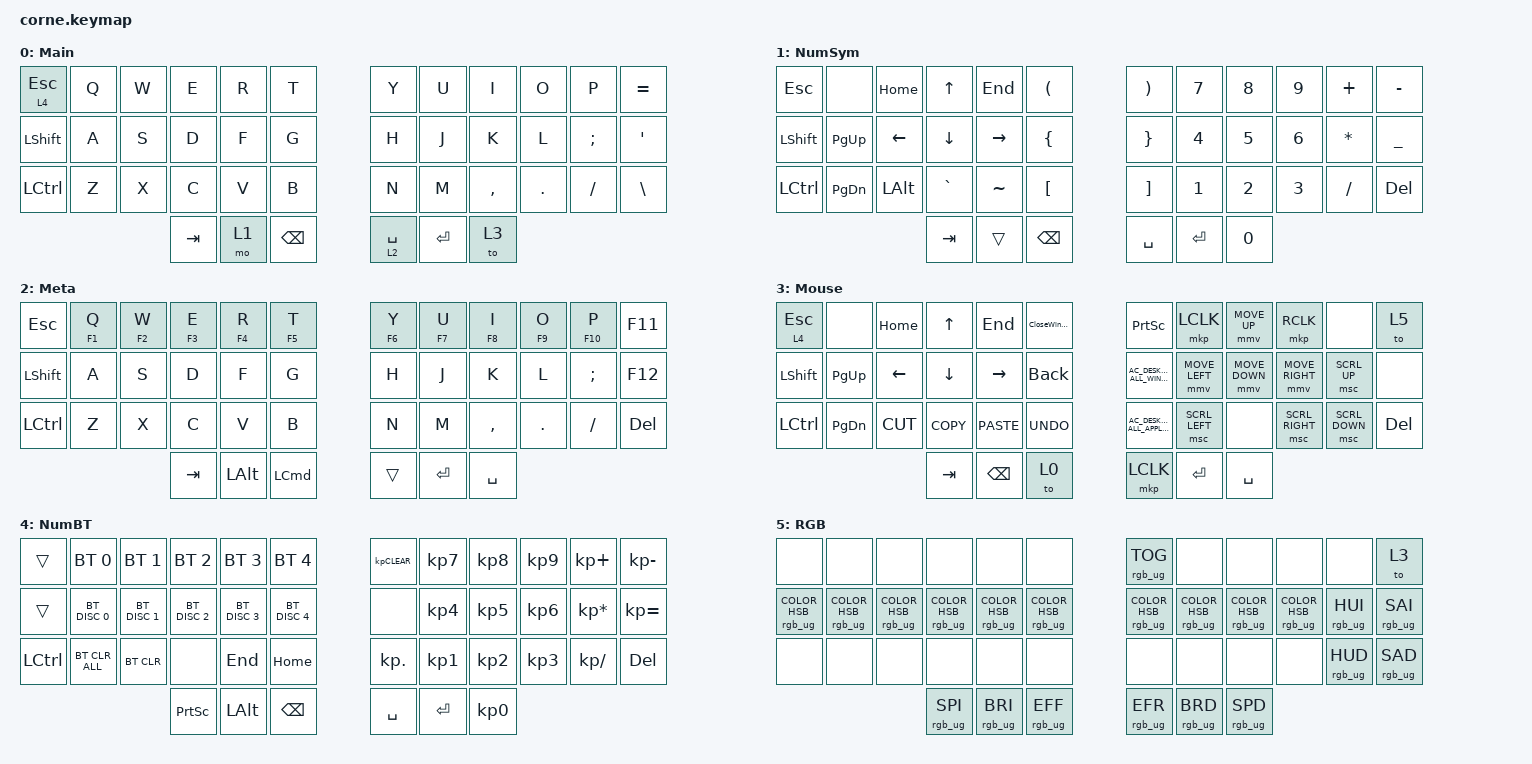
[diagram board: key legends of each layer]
/*
 * Copyright (c) 2020 The ZMK Contributors
 *
 * SPDX-License-Identifier: MIT
 */

#include <behaviors.dtsi>
#include <dt-bindings/zmk/bt.h>
#include <dt-bindings/zmk/keys.h>
#include <dt-bindings/zmk/pointing.h>
#include <dt-bindings/zmk/rgb.h>

/ {
    macros {
        CloseWindow: CloseWindow {
            compatible = "zmk,behavior-macro";
            #binding-cells = <0>;
            bindings = <&kp LA(F4)>;
            label = "CLOSEWINDOW";
        };

        Back: Back {
            compatible = "zmk,behavior-macro";
            #binding-cells = <0>;
            bindings = <&kp LA(LEFT_ARROW)>;
            label = "BACK";
        };

        Lock: Lock {
            compatible = "zmk,behavior-macro";
            #binding-cells = <0>;
            bindings = <&kp LC(LA(DELETE))>;
            label = "LOCK";
        };
    };

    keymap {
        compatible = "zmk,keymap";

        Main {
            // -----------------------------------------------------------------------------------------
            // |  TAB |  Q  |  W  |  E  |  R  |  T  |   |  Y  |  U   |  I  |  O  |  P  | BKSP |
            // | CTRL |  A  |  S  |  D  |  F  |  G  |   |  H  |  J   |  K  |  L  |  ;  |  '   |
            // | SHFT |  Z  |  X  |  C  |  V  |  B  |   |  N  |  M   |  ,  |  .  |  /  | ESC  |
            //                    | GUI | LWR | SPC |   | ENT | RSE  | ALT |

            display-name = "Main";
            bindings = <
&lt 4 ESC         &kp Q  &kp W  &kp E    &kp R  &kp T            &kp Y        &kp U      &kp I      &kp O    &kp P     &kp EQUAL
&kp LEFT_SHIFT    &kp A  &kp S  &kp D    &kp F  &kp G            &kp H        &kp J      &kp K      &kp L    &kp SEMI  &kp SQT
&kp LEFT_CONTROL  &kp Z  &kp X  &kp C    &kp V  &kp B            &kp N        &kp M      &kp COMMA  &kp DOT  &kp FSLH  &kp BACKSLASH
                                &kp TAB  &mo 1  &kp BACKSPACE    &lt 2 SPACE  &kp ENTER  &to 3
            >;
        };

        NumSym {
            // -----------------------------------------------------------------------------------------
            // |  TAB |  1  |  2  |  3  |  4  |  5  |   |  6  |  7  |  8  |  9  |  0  | BKSP |
            // | BTCLR| BT1 | BT2 | BT3 | BT4 | BT5 |   | LFT | DWN |  UP | RGT |     |      |
            // | SHFT |     |     |     |     |     |   |     |     |     |     |     |      |
            //                    | GUI |     | SPC |   | ENT |     | ALT |

            display-name = "NumSym";
            bindings = <
&kp ESC           &none          &kp HOME        &kp UP_ARROW    &kp END          &kp LEFT_PARENTHESIS    &kp RIGHT_PARENTHESIS  &kp NUMBER_7  &kp NUMBER_8  &kp NUMBER_9  &kp PLUS      &kp MINUS
&kp LEFT_SHIFT    &kp PAGE_UP    &kp LEFT_ARROW  &kp DOWN_ARROW  &kp RIGHT_ARROW  &kp LEFT_BRACE          &kp RIGHT_BRACE        &kp NUMBER_4  &kp NUMBER_5  &kp NUMBER_6  &kp ASTERISK  &kp UNDER
&kp LEFT_CONTROL  &kp PAGE_DOWN  &kp LEFT_ALT    &kp GRAVE       &kp TILDE        &kp LEFT_BRACKET        &kp RIGHT_BRACKET      &kp NUMBER_1  &kp NUMBER_2  &kp NUMBER_3  &kp SLASH     &kp DELETE
                                                 &kp TAB         &trans           &kp BACKSPACE           &kp SPACE              &kp ENTER     &kp NUMBER_0
            >;
        };

        Command {
            // -----------------------------------------------------------------------------------------
            // |  TAB |  !  |  @  |  #  |  $  |  %  |   |  ^  |  &  |  *  |  (  |  )  | BKSP |
            // | CTRL |     |     |     |     |     |   |  -  |  =  |  [  |  ]  |  \  |  `   |
            // | SHFT |     |     |     |     |     |   |  _  |  +  |  {  |  }  | "|" |  ~   |
            //                    | GUI |     | SPC |   | ENT |     | ALT |

            display-name = "Meta";
            bindings = <
&kp ESC           &mt F1 Q  &mt F2 W  &mt F3 E  &mt F4 R      &mt F5 T            &mt F6 Y  &mt F7 U   &mt F8 I   &mt F9 O    &mt F10 P      &kp F11
&kp LEFT_SHIFT    &kp A     &kp S     &kp D     &kp F         &kp G               &kp H     &kp J      &kp K      &kp L       &kp SEMICOLON  &kp F12
&kp LEFT_CONTROL  &kp Z     &kp X     &kp C     &kp V         &kp B               &kp N     &kp M      &kp COMMA  &kp PERIOD  &kp SLASH      &kp DELETE
                                      &kp TAB   &kp LEFT_ALT  &kp LEFT_COMMAND    &trans    &kp ENTER  &kp SPACE
            >;
        };

        Mouse {
            display-name = "Mouse";
            bindings = <
&lt 4 ESC         &none          &kp HOME        &kp UP_ARROW    &kp END          &CloseWindow    &kp PRINTSCREEN                         &mkp LCLK       &mmv MOVE_UP    &mkp RCLK        &none           &to 5
&kp LEFT_SHIFT    &kp PAGE_UP    &kp LEFT_ARROW  &kp DOWN_ARROW  &kp RIGHT_ARROW  &Back           &kp C_AC_DESKTOP_SHOW_ALL_WINDOWS       &mmv MOVE_LEFT  &mmv MOVE_DOWN  &mmv MOVE_RIGHT  &msc SCRL_UP    &none
&kp LEFT_CONTROL  &kp PAGE_DOWN  &kp K_CUT       &kp K_COPY      &kp K_PASTE      &kp K_UNDO      &kp C_AC_DESKTOP_SHOW_ALL_APPLICATIONS  &msc SCRL_LEFT  &none           &msc SCRL_RIGHT  &msc SCRL_DOWN  &kp DELETE
                                                 &kp TAB         &kp BACKSPACE    &to 0           &mkp LCLK                               &kp ENTER       &kp SPACE
            >;
        };

        NumpadBT {
            display-name = "NumBT";
            bindings = <
&trans            &bt BT_SEL 0    &bt BT_SEL 1   &bt BT_SEL 2     &bt BT_SEL 3   &bt BT_SEL 4     &kp KP_CLEAR  &kp KP_NUMBER_7  &kp KP_NUMBER_8  &kp KP_NUMBER_9  &kp KP_PLUS      &kp KP_MINUS
&trans            &bt BT_DISC 0   &bt BT_DISC 1  &bt BT_DISC 2    &bt BT_DISC 3  &bt BT_DISC 4    &none         &kp KP_NUMBER_4  &kp KP_NUMBER_5  &kp KP_NUMBER_6  &kp KP_MULTIPLY  &kp KP_EQUAL
&kp LEFT_CONTROL  &bt BT_CLR_ALL  &bt BT_CLR     &none            &kp END        &kp HOME         &kp KP_DOT    &kp KP_NUMBER_1  &kp KP_NUMBER_2  &kp KP_NUMBER_3  &kp KP_DIVIDE    &kp DEL
                                                 &kp PRINTSCREEN  &kp LEFT_ALT   &kp BACKSPACE    &kp SPACE     &kp ENTER        &kp KP_NUMBER_0
            >;
        };

        Light {
            display-name = "RGB";
            bindings = <
&none                             &none                            &none                            &none                             &none                             &none                               &rgb_ug RGB_TOG                   &none                             &none                             &none                          &none            &to 3
&rgb_ug RGB_COLOR_HSB(354,94,49)  &rgb_ug RGB_COLOR_HSB(25,94,49)  &rgb_ug RGB_COLOR_HSB(59,95,50)  &rgb_ug RGB_COLOR_HSB(112,94,49)  &rgb_ug RGB_COLOR_HSB(176,98,48)  &rgb_ug RGB_COLOR_HSB(227,98,48)    &rgb_ug RGB_COLOR_HSB(275,86,50)  &rgb_ug RGB_COLOR_HSB(311,90,49)  &rgb_ug RGB_COLOR_HSB(174,41,96)  &rgb_ug RGB_COLOR_HSB(0,17,2)  &rgb_ug RGB_HUI  &rgb_ug RGB_SAI
&none                             &none                            &none                            &none                             &none                             &none                               &none                             &none                             &none                             &none                          &rgb_ug RGB_HUD  &rgb_ug RGB_SAD
                                                                                                    &rgb_ug RGB_SPI                   &rgb_ug RGB_BRI                   &rgb_ug RGB_EFF                     &rgb_ug RGB_EFR                   &rgb_ug RGB_BRD                   &rgb_ug RGB_SPD
            >;
        };
    };
};
